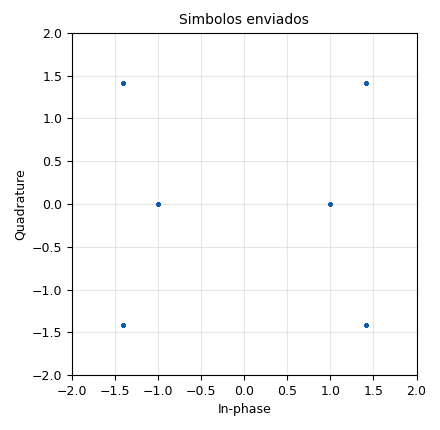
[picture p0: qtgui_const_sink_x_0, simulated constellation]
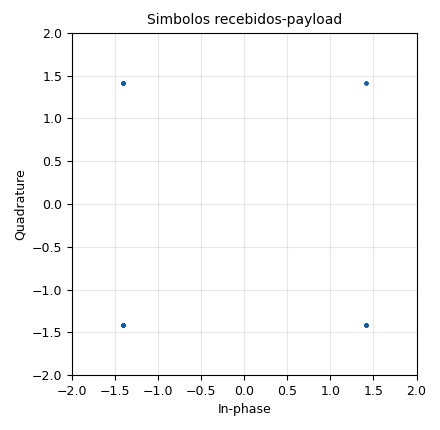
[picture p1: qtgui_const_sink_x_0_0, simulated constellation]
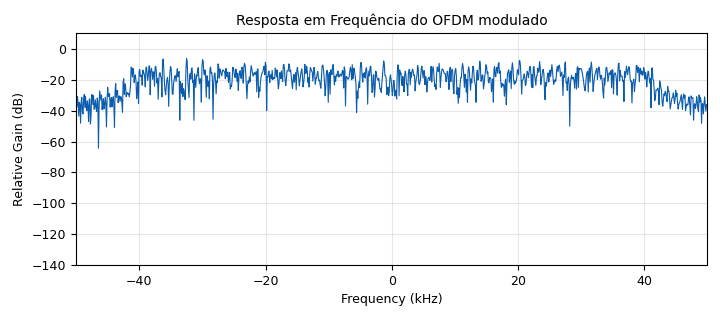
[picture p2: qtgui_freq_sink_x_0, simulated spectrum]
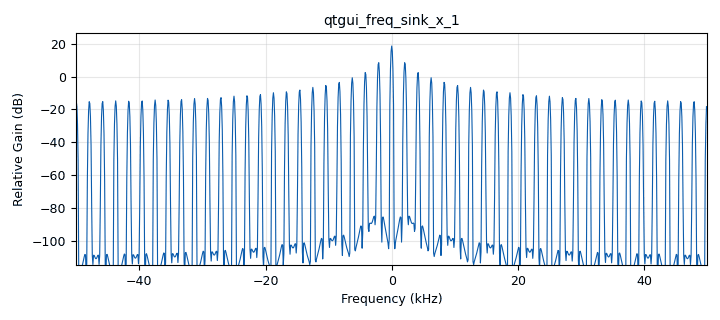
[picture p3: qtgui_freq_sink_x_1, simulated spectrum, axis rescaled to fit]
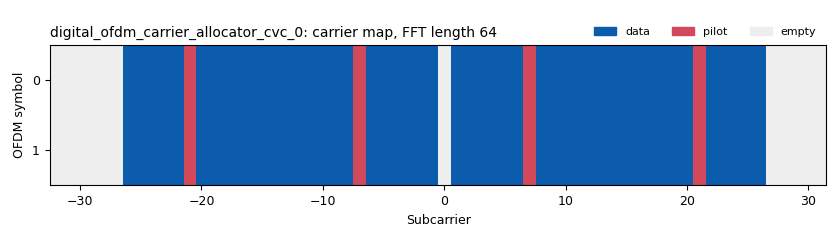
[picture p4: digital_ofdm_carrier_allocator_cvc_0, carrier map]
options:
  parameters:
    author: survivor
    generate_options: qt_gui
    id: OFDM
    output_language: python
    title: Not titled yet
  states: {}

blocks:
- name: amp_audio
  id: variable_qtgui_range
  parameters:
    start: '1'
    step: '1'
    stop: '255'
    value: '128'
  states: {}
- name: audio_rate
  id: variable
  parameters:
    value: '48000'
  states: {}
- name: fft_len
  id: variable
  parameters:
    value: '64'
  states: {}
- name: header_equalizer
  id: variable
  parameters:
    value: digital.ofdm_equalizer_simpledfe(fft_len, header_mod.base(), occupied_carriers, pilot_carriers, pilot_symbols)
  states: {}
- name: header_formatter
  id: variable
  parameters:
    value: digital.packet_header_ofdm(occupied_carriers, n_syms=1, len_tag_key=length_tag_key, frame_len_tag_key=length_tag_key, bits_per_header_sym=header_mod.bits_per_symbol(), bits_per_payload_sym=payload_mod.bits_per_symbol(), scramble_header=False)
  states: {}
- name: header_mod
  id: variable
  parameters:
    value: digital.constellation_bpsk()
  states: {}
- name: header_mod_0
  id: variable
  parameters:
    value: digital.constellation_bpsk()
  states: {}
- name: length_tag_key
  id: variable
  parameters:
    value: '"frame_length"'
  states: {}
- name: noise
  id: variable_qtgui_range
  parameters:
    start: '0'
    step: '0.1'
    stop: '5'
    value: '0'
  states: {}
- name: occupied_carriers
  id: variable
  parameters:
    value: (list(range(-26, -21)) + list(range(-20, -7)) + list(range(-6, 0)) + list(range(1, 7)) + list(range(8, 21)) + list(range(22, 27)),)
  states: {}
- name: packet_len
  id: variable
  parameters:
    value: '96'
  states: {state: disabled}
- name: packet_length
  id: variable
  parameters:
    value: '48'
  states: {}
- name: packet_length_tag_key
  id: variable
  parameters:
    value: '"packet_length"'
  states: {}
- name: payload_equalizer
  id: variable
  parameters:
    value: digital.ofdm_equalizer_simpledfe(fft_len, payload_mod.base(), occupied_carriers, pilot_carriers, pilot_symbols, 1)
  states: {}
- name: payload_mod
  id: variable
  parameters:
    value: digital.constellation_qpsk()
  states: {}
- name: pilot_carriers
  id: variable
  parameters:
    value: ((-21, -7, 7, 21,),)
  states: {}
- name: pilot_symbols
  id: variable
  parameters:
    value: ((1, 1, 1, -1,),)
  states: {}
- name: samp_rate
  id: variable
  parameters:
    value: '100000'
  states: {}
- name: sync_word1
  id: variable
  parameters:
    value: '[0., 0., 0., 0., 0., 0., 0., 1.41421356, 0., -1.41421356, 0., 1.41421356, 0., -1.41421356, 0., -1.41421356, 0., -1.41421356, 0., 1.41421356, 0., -1.41421356, 0., 1.41421356, 0., -1.41421356, 0., -1.41421356, 0., -1.41421356, 0., -1.41421356, 0., 1.41421356, 0., -1.41421356, 0., 1.41421356, 0., 1.41421356, 0., 1.41421356, 0., -1.41421356, 0., 1.41421356, 0., 1.41421356, 0., 1.41421356, 0., -1.41421356, 0., 1.41421356, 0., 1.41421356, 0., 1.41421356, 0., 0., 0., 0., 0., 0.]'
  states: {}
- name: sync_word2
  id: variable
  parameters:
    value: '[0, 0, 0, 0, 0, 0, -1, -1, -1, -1, 1, 1, -1, -1, -1, 1, -1, 1, 1, 1, 1, 1, -1, -1, -1, -1, -1, 1, -1, -1, 1, -1, 0, 1, -1, 1, 1, 1, -1, 1, 1, 1, -1, 1, 1, 1, 1, -1, 1, -1, -1, -1, 1, -1, 1, -1, -1, -1, -1, 0, 0, 0, 0, 0] '
  states: {}
- name: analog_frequency_modulator_fc_0
  id: analog_frequency_modulator_fc
  parameters:
    sensitivity: '-2.0/fft_len'
  states: {}
- name: audio_sink_0_0
  id: audio_sink
  parameters:
    samp_rate: samp_rate
  states: {state: disabled}
- name: audio_sink_0_0_0
  id: audio_sink
  parameters:
    samp_rate: samp_rate
  states: {state: disabled}
- name: blocks_add_const_vxx_0
  id: blocks_add_const_vxx
  parameters:
    const: '1'
    type: float
  states: {state: disabled}
- name: blocks_add_const_vxx_1
  id: blocks_add_const_vxx
  parameters:
    const: '-1'
    type: float
  states: {state: bypassed}
- name: blocks_add_const_vxx_1_0
  id: blocks_add_const_vxx
  parameters:
    const: '-1'
    type: float
  states: {state: disabled}
- name: blocks_delay_0
  id: blocks_delay
  parameters:
    delay: fft_len+fft_len//4
    type: complex
  states: {}
- name: blocks_float_to_uchar_0
  id: blocks_float_to_uchar
  parameters: {}
  states: {state: disabled}
- name: blocks_multiply_const_vxx_0_0_0
  id: blocks_multiply_const_vxx
  parameters:
    const: 1/amp_audio
    type: float
  states: {state: bypassed}
- name: blocks_multiply_const_vxx_0_0_0_0
  id: blocks_multiply_const_vxx
  parameters:
    const: 1/amp_audio
    type: float
  states: {state: disabled}
- name: blocks_multiply_const_vxx_0_1
  id: blocks_multiply_const_vxx
  parameters:
    const: amp_audio
    type: float
  states: {state: disabled}
- name: blocks_multiply_xx_0
  id: blocks_multiply_xx
  parameters:
    type: complex
  states: {}
- name: blocks_repack_bits_bb_0
  id: blocks_repack_bits_bb
  parameters:
    comment: |-
      repack bytes
      384 B in output for 96 in input
    endianness: gr.GR_LSB_FIRST
    k: '8'
    l: payload_mod.bits_per_symbol()
    len_tag_key: packet_length_tag_key
  states: {}
- name: blocks_repack_bits_bb_0_0
  id: blocks_repack_bits_bb
  parameters:
    align_output: 'True'
    endianness: gr.GR_LSB_FIRST
    k: payload_mod.bits_per_symbol()
    l: '8'
    len_tag_key: packet_length_tag_key
  states: {}
- name: blocks_stream_to_tagged_stream_0
  id: blocks_stream_to_tagged_stream
  parameters:
    len_tag_key: packet_length_tag_key
    packet_len: packet_length
    type: byte
  states: {}
- name: blocks_tag_debug_1
  id: blocks_tag_debug
  parameters:
    name: Rx Bytes
    type: byte
  states: {}
- name: blocks_tag_gate_0
  id: blocks_tag_gate
  parameters:
    propagate_tags: 'False'
    type: complex
  states: {}
- name: blocks_tagged_stream_mux_0
  id: blocks_tagged_stream_mux
  parameters:
    comment: |-
      Adding Both
      432B in out
    lengthtagname: packet_length_tag_key
    ninputs: '2'
    type: complex
  states: {}
- name: blocks_throttle_0
  id: blocks_throttle
  parameters:
    samples_per_second: samp_rate
    type: byte
  states: {}
- name: blocks_uchar_to_float_0
  id: blocks_uchar_to_float
  parameters: {}
  states: {}
- name: blocks_uchar_to_float_0_0
  id: blocks_uchar_to_float
  parameters: {}
  states: {state: disabled}
- name: blocks_uchar_to_float_0_0_0
  id: blocks_uchar_to_float
  parameters: {}
  states: {state: disabled}
- name: blocks_vector_source_x_0
  id: blocks_vector_source_x
  parameters:
    repeat: 'True'
    tags: ()
    type: byte
    vector: range(packet_length)
  states: {}
- name: blocks_wavfile_source_0_0
  id: blocks_wavfile_source
  parameters:
    file: /home/survivor/Documents/FGA/com_dig/gnuradio/preamble.wav
    repeat: 'True'
  states: {state: disabled}
- name: blocks_wavfile_source_0_0_0
  id: blocks_wavfile_source
  parameters:
    file: /home/survivor/Documents/FGA/com_dig/gnuradio/Lonesome Road Blues.wav
    repeat: 'True'
  states: {state: disabled}
- name: channels_channel_model_0
  id: channels_channel_model
  parameters:
    block_tags: 'True'
    epsilon: '1.0'
    freq_offset: 0 * 1.0/fft_len
    noise_voltage: noise
    seed: '0'
    taps: '1.0'
  states: {}
- name: digital_chunks_to_symbols_xx_0
  id: digital_chunks_to_symbols_xx
  parameters:
    comment: |-
      in 1 bytes, is 1 sym
      so output is 48B complex length
    dimension: '1'
    in_type: byte
    out_type: complex
    symbol_table: header_mod.points()
  states: {}
- name: digital_chunks_to_symbols_xx_0_0
  id: digital_chunks_to_symbols_xx
  parameters:
    comment: |-
      1 byte is 1 sym
      output = 384B
    dimension: '1'
    in_type: byte
    out_type: complex
    symbol_table: payload_mod.points()
  states: {}
- name: digital_constellation_decoder_cb_0
  id: digital_constellation_decoder_cb
  parameters:
    constellation: header_mod.base()
  states: {}
- name: digital_constellation_decoder_cb_1
  id: digital_constellation_decoder_cb
  parameters:
    constellation: payload_mod.base()
  states: {}
- name: digital_crc32_bb_0
  id: digital_crc32_bb
  parameters:
    check: 'False'
    comment: |-
      Add a crc at final of packet, ie, at msb
      100 B length
    lengthtagname: packet_length_tag_key
    packed: 'True'
  states: {}
- name: digital_crc32_bb_0_0
  id: digital_crc32_bb
  parameters:
    check: 'True'
    lengthtagname: packet_length_tag_key
    packed: 'True'
  states: {}
- name: digital_header_payload_demux_0
  id: digital_header_payload_demux
  parameters:
    guard_interval: fft_len//4
    header_len: '3'
    header_padding: '0'
    items_per_symbol: fft_len
    length_tag_key: length_tag_key
    output_symbols: 'True'
    samp_rate: samp_rate
    special_tags: ()
    timing_tag_key: '"rx_time"'
    type: complex
  states: {}
- name: digital_ofdm_carrier_allocator_cvc_0
  id: digital_ofdm_carrier_allocator_cvc
  parameters:
    fft_len: fft_len
    len_tag_key: packet_length_tag_key
    occupied_carriers: occupied_carriers
    output_is_shifted: 'True'
    pilot_carriers: pilot_carriers
    pilot_symbols: pilot_symbols
    sync_words: (sync_word1,sync_word2)
  states: {}
- name: digital_ofdm_chanest_vcvc_0
  id: digital_ofdm_chanest_vcvc
  parameters:
    force_one_symbol: 'False'
    max_carr_offset: '3'
    n_data_symbols: '1'
    sync_symbol1: sync_word1
    sync_symbol2: sync_word2
  states: {}
- name: digital_ofdm_cyclic_prefixer_0
  id: digital_ofdm_cyclic_prefixer
  parameters:
    cp_len: fft_len//4
    input_size: fft_len
    tagname: packet_length_tag_key
  states: {}
- name: digital_ofdm_frame_equalizer_vcvc_0
  id: digital_ofdm_frame_equalizer_vcvc
  parameters:
    cp_len: fft_len//4
    equalizer: header_equalizer.base()
    fft_len: fft_len
    fixed_frame_len: '1'
    len_tag_key: length_tag_key
    propagate_channel_state: 'True'
  states: {}
- name: digital_ofdm_frame_equalizer_vcvc_1
  id: digital_ofdm_frame_equalizer_vcvc
  parameters:
    cp_len: fft_len//4
    equalizer: payload_equalizer.base()
    fft_len: fft_len
    len_tag_key: length_tag_key
    propagate_channel_state: 'True'
  states: {}
- name: digital_ofdm_serializer_vcc_header
  id: digital_ofdm_serializer_vcc
  parameters:
    carr_offset_key: ''
    fft_len: fft_len
    len_tag_key: length_tag_key
    occupied_carriers: occupied_carriers
    packet_len_tag_key: ''
  states: {}
- name: digital_ofdm_serializer_vcc_payload
  id: digital_ofdm_serializer_vcc
  parameters:
    carr_offset_key: ''
    fft_len: fft_len
    len_tag_key: length_tag_key
    occupied_carriers: occupied_carriers
    packet_len_tag_key: packet_length_tag_key
    symbols_skipped: '1'
  states: {}
- name: digital_ofdm_sync_sc_cfb_0
  id: digital_ofdm_sync_sc_cfb
  parameters:
    cp_len: fft_len//4
    fft_len: fft_len
    threshold: '0.9'
  states: {}
- name: digital_packet_headergenerator_bb_0
  id: digital_packet_headergenerator_bb
  parameters:
    comment: |-
      Generate a packet header. The output is
      a bit per byte (0 or 1)
      48B length
    header_formatter: header_formatter
    len_tag_key: packet_length_tag_key
  states: {}
- name: digital_packet_headerparser_b_0
  id: digital_packet_headerparser_b
  parameters:
    header_formatter: header_formatter.base()
  states: {}
- name: fec_ber_bf_0
  id: fec_ber_bf
  parameters:
    test_mode: 'False'
  states: {}
- name: fft_vxx_0
  id: fft_vxx
  parameters:
    comment: |-
      Gnu radio trata a posição dos valores na frequência 
      de maneira deslocada pela metade da frequência de nyquist.
    fft_size: fft_len
    forward: 'False'
    shift: 'True'
    type: complex
    window: ()
  states: {}
- name: fft_vxx_0_0
  id: fft_vxx
  parameters:
    fft_size: fft_len
    forward: 'True'
    shift: 'True'
    type: complex
    window: ()
  states: {}
- name: fft_vxx_1
  id: fft_vxx
  parameters:
    fft_size: fft_len
    forward: 'True'
    shift: 'True'
    type: complex
    window: ()
  states: {}
- name: import_1
  id: import
  parameters:
    imports: from gnuradio.digital.utils import tagged_streams
  states: {}
- name: notebooks_tab
  id: qtgui_tab_widget
  parameters:
    label0: Time
    label1: Frequency
    label2: Constellation
    num_tabs: '3'
  states: {}
- name: qtgui_const_sink_x_0
  id: qtgui_const_sink_x
  parameters:
    gui_hint: notebooks_tab@2
    name: '"Simbolos enviados"'
    size: '1024'
    type: complex
  states: {}
- name: qtgui_const_sink_x_0_0
  id: qtgui_const_sink_x
  parameters:
    gui_hint: notebooks_tab@2
    name: '"Simbolos recebidos-payload"'
    size: '256'
    type: complex
  states: {}
- name: qtgui_freq_sink_x_0
  id: qtgui_freq_sink_x
  parameters:
    bw: samp_rate
    fc: '0'
    fftsize: '1024'
    gui_hint: notebooks_tab@1
    name: '"Resposta em Frequência do OFDM modulado"'
    type: complex
  states: {}
- name: qtgui_freq_sink_x_1
  id: qtgui_freq_sink_x
  parameters:
    bw: samp_rate
    fc: '0'
    fftsize: '1024'
    type: float
  states: {}
- name: qtgui_number_sink_0
  id: qtgui_number_sink
  parameters:
    graph_type: qtgui.NUM_GRAPH_HORIZ
    type: float
  states: {}
- name: qtgui_time_sink_x_0
  id: qtgui_time_sink_x
  parameters:
    size: '1024'
    srate: samp_rate
    type: complex
  states: {state: disabled}
- name: qtgui_time_sink_x_0_0
  id: qtgui_time_sink_x
  parameters:
    autoscale: 'True'
    gui_hint: notebooks_tab@0
    name: '"Payload Enviado"'
    size: '1024'
    srate: samp_rate
    tr_delay: '0.0'
    tr_mode: qtgui.TRIG_MODE_TAG
    tr_tag: packet_length_tag_key
    type: complex
  states: {}
- name: qtgui_time_sink_x_0_0_0
  id: qtgui_time_sink_x
  parameters:
    autoscale: 'True'
    gui_hint: notebooks_tab@0
    name: '"Payload recebido"'
    size: '1024'
    srate: samp_rate
    tr_delay: '0.0'
    tr_mode: qtgui.TRIG_MODE_TAG
    tr_tag: packet_length_tag_key
    type: complex
  states: {}
- name: qtgui_time_sink_x_2
  id: qtgui_time_sink_x
  parameters:
    autoscale: 'True'
    grid: 'True'
    size: '1024'
    srate: samp_rate
    type: float
  states: {}
- name: qtgui_time_sink_x_2_0
  id: qtgui_time_sink_x
  parameters:
    autoscale: 'True'
    grid: 'True'
    size: '1024'
    srate: samp_rate
    type: float
  states: {state: disabled}
- name: rational_resampler_xxx_0
  id: rational_resampler_xxx
  parameters:
    decim: '2205'
    interp: '10000'
    type: fff
  states: {state: disabled}
- name: virtual_sink_0
  id: virtual_sink
  parameters:
    stream_id: header_bpsk
  states: {}
- name: virtual_sink_0_0
  id: virtual_sink
  parameters:
    stream_id: payload_qpsk
  states: {}
- name: virtual_sink_0_1
  id: virtual_sink
  parameters:
    stream_id: Header Stream
  states: {}
- name: virtual_sink_1
  id: virtual_sink
  parameters:
    stream_id: freq_symbols
  states: {}
- name: virtual_sink_1_0
  id: virtual_sink
  parameters:
    stream_id: Payload IQ
  states: {}
- name: virtual_sink_1_1
  id: virtual_sink
  parameters:
    stream_id: Payload Stream
  states: {}
- name: virtual_sink_2
  id: virtual_sink
  parameters:
    stream_id: OFDM_time_domain
  states: {}
- name: virtual_sink_3
  id: virtual_sink
  parameters:
    stream_id: tx_frame
  states: {}
- name: virtual_source_0
  id: virtual_source
  parameters:
    stream_id: header_bpsk
  states: {}
- name: virtual_source_0_0
  id: virtual_source
  parameters:
    stream_id: payload_qpsk
  states: {}
- name: virtual_source_0_0_0
  id: virtual_source
  parameters:
    stream_id: Payload IQ
  states: {}
- name: virtual_source_0_1
  id: virtual_source
  parameters:
    stream_id: Header Stream
  states: {}
- name: virtual_source_1
  id: virtual_source
  parameters:
    stream_id: tx_frame
  states: {}
- name: virtual_source_1_0
  id: virtual_source
  parameters:
    stream_id: Payload Stream
  states: {}
- name: virtual_source_2
  id: virtual_source
  parameters:
    stream_id: freq_symbols
  states: {}
- name: virtual_source_2_0
  id: virtual_source
  parameters:
    stream_id: OFDM_time_domain
  states: {}

connections:
- [analog_frequency_modulator_fc_0, '0', blocks_multiply_xx_0, '0']
- [blocks_add_const_vxx_0, '0', blocks_multiply_const_vxx_0_1, '0']
- [blocks_add_const_vxx_1, '0', audio_sink_0_0, '0']
- [blocks_add_const_vxx_1, '0', qtgui_time_sink_x_2, '0']
- [blocks_add_const_vxx_1_0, '0', audio_sink_0_0_0, '0']
- [blocks_delay_0, '0', blocks_multiply_xx_0, '1']
- [blocks_float_to_uchar_0, '0', blocks_stream_to_tagged_stream_0, '0']
- [blocks_multiply_const_vxx_0_0_0, '0', blocks_add_const_vxx_1, '0']
- [blocks_multiply_const_vxx_0_0_0_0, '0', blocks_add_const_vxx_1_0, '0']
- [blocks_multiply_const_vxx_0_1, '0', blocks_float_to_uchar_0, '0']
- [blocks_multiply_xx_0, '0', digital_header_payload_demux_0, '0']
- [blocks_repack_bits_bb_0, '0', digital_chunks_to_symbols_xx_0_0, '0']
- [blocks_repack_bits_bb_0_0, '0', blocks_uchar_to_float_0, '0']
- [blocks_repack_bits_bb_0_0, '0', digital_crc32_bb_0_0, '0']
- [blocks_repack_bits_bb_0_0, '0', fec_ber_bf_0, '1']
- [blocks_stream_to_tagged_stream_0, '0', blocks_repack_bits_bb_0, '0']
- [blocks_stream_to_tagged_stream_0, '0', digital_crc32_bb_0, '0']
- [blocks_stream_to_tagged_stream_0, '0', virtual_sink_3, '0']
- [blocks_tag_gate_0, '0', virtual_sink_2, '0']
- [blocks_tagged_stream_mux_0, '0', qtgui_time_sink_x_0_0, '0']
- [blocks_tagged_stream_mux_0, '0', virtual_sink_1, '0']
- [blocks_throttle_0, '0', blocks_stream_to_tagged_stream_0, '0']
- [blocks_uchar_to_float_0, '0', blocks_multiply_const_vxx_0_0_0, '0']
- [blocks_uchar_to_float_0, '0', qtgui_freq_sink_x_1, '0']
- [blocks_uchar_to_float_0_0, '0', blocks_multiply_const_vxx_0_0_0_0, '0']
- [blocks_uchar_to_float_0_0_0, '0', qtgui_time_sink_x_2_0, '0']
- [blocks_vector_source_x_0, '0', blocks_throttle_0, '0']
- [blocks_wavfile_source_0_0, '0', rational_resampler_xxx_0, '0']
- [channels_channel_model_0, '0', blocks_delay_0, '0']
- [channels_channel_model_0, '0', digital_ofdm_sync_sc_cfb_0, '0']
- [channels_channel_model_0, '0', qtgui_freq_sink_x_0, '0']
- [digital_chunks_to_symbols_xx_0, '0', virtual_sink_0, '0']
- [digital_chunks_to_symbols_xx_0_0, '0', virtual_sink_0_0, '0']
- [digital_constellation_decoder_cb_0, '0', digital_packet_headerparser_b_0, '0']
- [digital_constellation_decoder_cb_1, '0', blocks_repack_bits_bb_0_0, '0']
- [digital_crc32_bb_0, '0', digital_packet_headergenerator_bb_0, '0']
- [digital_crc32_bb_0_0, '0', blocks_tag_debug_1, '0']
- [digital_header_payload_demux_0, '0', virtual_sink_0_1, '0']
- [digital_header_payload_demux_0, '1', virtual_sink_1_1, '0']
- [digital_ofdm_carrier_allocator_cvc_0, '0', fft_vxx_0, '0']
- [digital_ofdm_chanest_vcvc_0, '0', digital_ofdm_frame_equalizer_vcvc_0, '0']
- [digital_ofdm_cyclic_prefixer_0, '0', blocks_tag_gate_0, '0']
- [digital_ofdm_frame_equalizer_vcvc_0, '0', digital_ofdm_serializer_vcc_header, '0']
- [digital_ofdm_frame_equalizer_vcvc_1, '0', digital_ofdm_serializer_vcc_payload, '0']
- [digital_ofdm_serializer_vcc_header, '0', digital_constellation_decoder_cb_0, '0']
- [digital_ofdm_serializer_vcc_payload, '0', virtual_sink_1_0, '0']
- [digital_ofdm_sync_sc_cfb_0, '0', analog_frequency_modulator_fc_0, '0']
- [digital_ofdm_sync_sc_cfb_0, '1', digital_header_payload_demux_0, '1']
- [digital_packet_headergenerator_bb_0, '0', digital_chunks_to_symbols_xx_0, '0']
- [digital_packet_headerparser_b_0, header_data, digital_header_payload_demux_0, header_data]
- [fec_ber_bf_0, '0', qtgui_number_sink_0, '0']
- [fft_vxx_0, '0', digital_ofdm_cyclic_prefixer_0, '0']
- [fft_vxx_0_0, '0', digital_ofdm_chanest_vcvc_0, '0']
- [fft_vxx_1, '0', digital_ofdm_frame_equalizer_vcvc_1, '0']
- [rational_resampler_xxx_0, '0', blocks_add_const_vxx_0, '0']
- [virtual_source_0, '0', blocks_tagged_stream_mux_0, '0']
- [virtual_source_0_0, '0', blocks_tagged_stream_mux_0, '1']
- [virtual_source_0_0_0, '0', digital_constellation_decoder_cb_1, '0']
- [virtual_source_0_0_0, '0', qtgui_const_sink_x_0_0, '0']
- [virtual_source_0_0_0, '0', qtgui_time_sink_x_0_0_0, '0']
- [virtual_source_0_1, '0', fft_vxx_0_0, '0']
- [virtual_source_1, '0', blocks_uchar_to_float_0_0, '0']
- [virtual_source_1, '0', fec_ber_bf_0, '0']
- [virtual_source_1_0, '0', fft_vxx_1, '0']
- [virtual_source_2, '0', digital_ofdm_carrier_allocator_cvc_0, '0']
- [virtual_source_2, '0', qtgui_const_sink_x_0, '0']
- [virtual_source_2_0, '0', channels_channel_model_0, '0']

metadata:
  file_format: 1
  grc_version: 3.9.8.0
